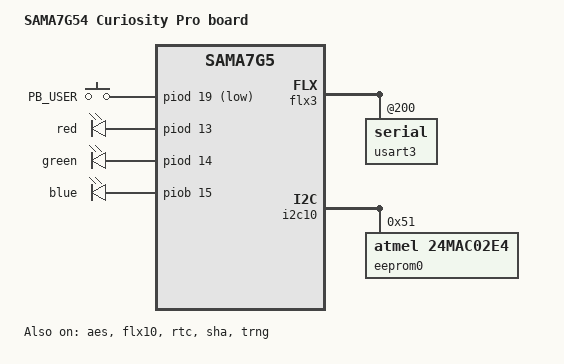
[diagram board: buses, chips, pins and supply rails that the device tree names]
/*
 * Copyright (C) 2026 Microchip Technology Inc.
 *
 * SPDX-License-Identifier: Apache-2.0
 *
 */

/dts-v1/;
#include <common/freq.h>
#include <dt-bindings/sam/sama7g5/sama7g54/sama7g54-pinctrl.h>
#include <zephyr/dt-bindings/mfd/mfd_mchp_sam_flexcom.h>
#include <zephyr/dt-bindings/gpio/gpio.h>
#include <zephyr/dt-bindings/gpio/microchip-sam-gpio.h>
#include <zephyr/dt-bindings/input/input-event-codes.h>
#include <microchip/sam/sama7/sama7g5/sama7g54.dtsi>

/ {
	compatible = "microchip,sama7g54-cpro", "microchip,sama7g5", "microchip,sama7";
	model = "SAMA7G54 Curiosity Pro board";

	aliases {
		led0 = &led_green;
		eeprom-0 = &eeprom0;
		rtc = &rtc;
		sw0 = &button_user;
	};

	chosen {
		zephyr,sram = &ddram;
		zephyr,console = &usart3;
		zephyr,entropy = &trng;
		zephyr,shell-uart = &usart3;
		zephyr,system-timer = &pit64b0;
	};

	clocks {
		main_xtal {
			clock-frequency = <DT_FREQ_M(24)>;
		};

		slow_xtal {
			clock-frequency = <32768>;
		};
	};

	gpio_keys {
		compatible = "gpio-keys";
		status = "okay";

		button_user: button_0 {
			label = "PB_USER";
			gpios = <&piod 19 (GPIO_PULL_UP | GPIO_ACTIVE_LOW)>;
			zephyr,code = <INPUT_KEY_0>;
		};
	};

	leds {
		compatible = "gpio-leds";
		status = "okay";

		led_red: red {
			label = "red";
			gpios = <&piod 13 GPIO_ACTIVE_HIGH>;
		};

		led_green: green {
			label = "green";
			gpios = <&piod 14 GPIO_ACTIVE_HIGH>;
		};

		led_blue: blue {
			label = "blue";
			gpios = <&piob 15 GPIO_ACTIVE_HIGH>;
		};
	};

	/* EM6HF16EBXC: 128-Mbit low-power mobile DRAM‌ */
	ddram: ddram@60000000 {
		compatible = "mmio-sram";
		reg = <0x60000000 DT_SIZE_M(16)>;
		device_type = "memory";
	};
};

&aes {
	status = "okay";
};

&dma0 {
	status = "okay";
};

&dma1 {
	status = "okay";
};

&dma2 {
	status = "okay";
};

&flx3 {
	mchp,flexcom-mode = <SAM_FLEXCOM_MODE_USART>;
	status = "okay";

	usart3: serial@200 {
		current-speed = <115200>;
		pinctrl-0 = <&pinctrl_flx3_default>;
		pinctrl-names = "default";
		status = "okay";
	};
};

&flx10 {
	mchp,flexcom-mode = <SAM_FLEXCOM_MODE_TWI>;
	status = "okay";

	i2c10: i2c10@600 {
		pinctrl-0 = <&pinctrl_i2c10_default>;
		pinctrl-names = "default";
		status = "okay";

		eeprom0: eeprom0@51 {
			compatible = "atmel,24mac02e4", "atmel,at24";
			reg = <0x51>;
			address-width = <8>;
			pagesize = <16>;
			size = <256>;
			timeout = <5>;
			status = "okay";

			nvmem-layout {
				compatible = "fixed-layout";
				#address-cells = <1>;
				#size-cells = <1>;

				eeprom0_eui48: eui48@fa {
					reg = <0xfa 6>;
					#nvmem-cell-cells = <0>;
				};
			};
		};
	};
};

&pinctrl {
	pinctrl_flx3_default: flx3_default {
		group1 {
			pinmux = <PIN_PD16__FLEXCOM3_IO0>,
				 <PIN_PD17__FLEXCOM3_IO1>;
			bias-disable;
		};
	};

	pinctrl_i2c10_default: i2c10_default {
		group1 {
			pinmux = <PIN_PC30__FLEXCOM10_IO0>,
				 <PIN_PC31__FLEXCOM10_IO1>;
			bias-disable;
		};
	};
};

&pit64b0 {
	clock-frequency = <DT_FREQ_M(10)>;
};

&rtc {
	status = "okay";
};

&sha {
	status = "okay";
};

&trng {
	status = "okay";
};
